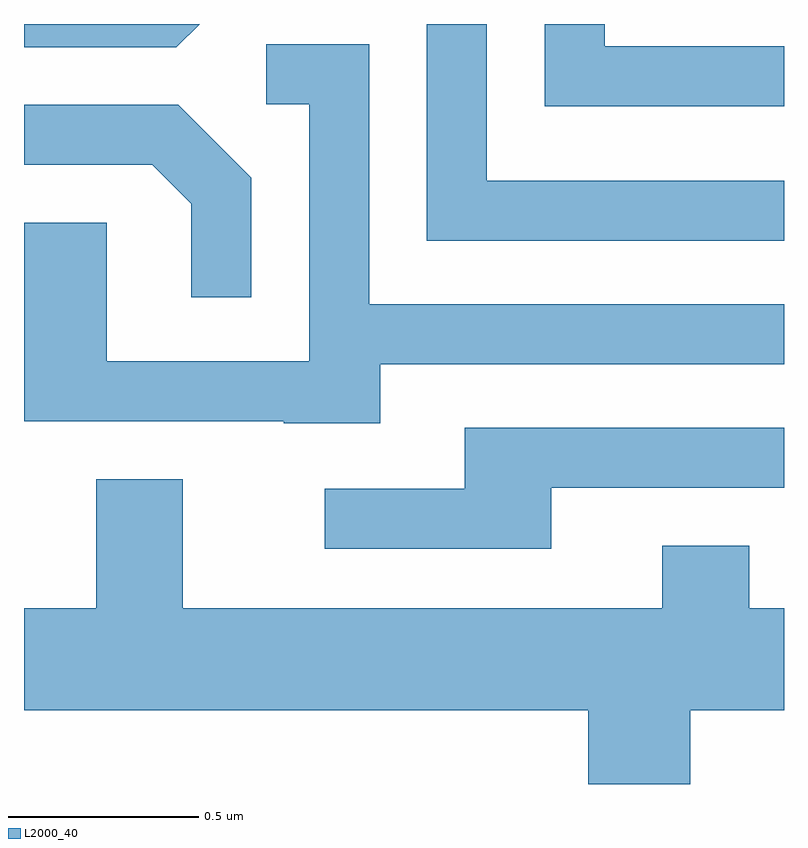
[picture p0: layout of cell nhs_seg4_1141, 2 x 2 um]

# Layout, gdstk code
import gdstk
lib = gdstk.Library(unit=1e-6, precision=1e-09)
def P(c, l, *ps):  # polygons
    for p in ps: c.add(gdstk.Polygon(p, *l))
L2000_40 = (2000, 40)

nhs_seg4_1141 = lib.new_cell('nhs_seg4_1141')
P(nhs_seg4_1141, L2000_40, [(194.073,1300.982),(193.611,1300.982),(193.611,1300.921),(194.012,1300.921)],
  [(195.611,1300.569),(194.829,1300.569),(194.829,1300.982),(194.671,1300.982),(194.671,1300.411),(195.611,1300.411)],
  [(195.611,1300.924),(195.139,1300.924),(195.139,1300.982),(194.981,1300.982),(194.981,1300.766),(195.611,1300.766)],
  [(194.549,1300.086),(195.611,1300.086),(195.611,1300.244),(194.519,1300.244),(194.519,1300.929),(194.248,1300.929),(194.248,1300.771),(194.361,1300.771),(194.361,1300.094),(193.829,1300.094),(193.829,1300.459),(193.611,1300.459),(193.611,1299.936),(194.295,1299.936),(194.295,1299.931),(194.549,1299.931)],
  [(194.209,1300.577),(194.017,1300.769),(193.611,1300.769),(193.611,1300.611),(193.949,1300.611),(194.051,1300.509),(194.051,1300.263),(194.209,1300.263)],
  [(194.999,1299.761),(195.611,1299.761),(195.611,1299.919),(194.771,1299.919),(194.771,1299.759),(194.403,1299.759),(194.403,1299.601),(194.999,1299.601)],
  [(195.364,1299.176),(195.611,1299.176),(195.611,1299.444),(195.519,1299.444),(195.519,1299.609),(195.291,1299.609),(195.291,1299.444),(194.029,1299.444),(194.029,1299.784),(193.801,1299.784),(193.801,1299.444),(193.611,1299.444),(193.611,1299.176),(195.096,1299.176),(195.096,1298.982),(195.364,1298.982)])

lib.write_gds('nhs_seg4_1141.gds')
